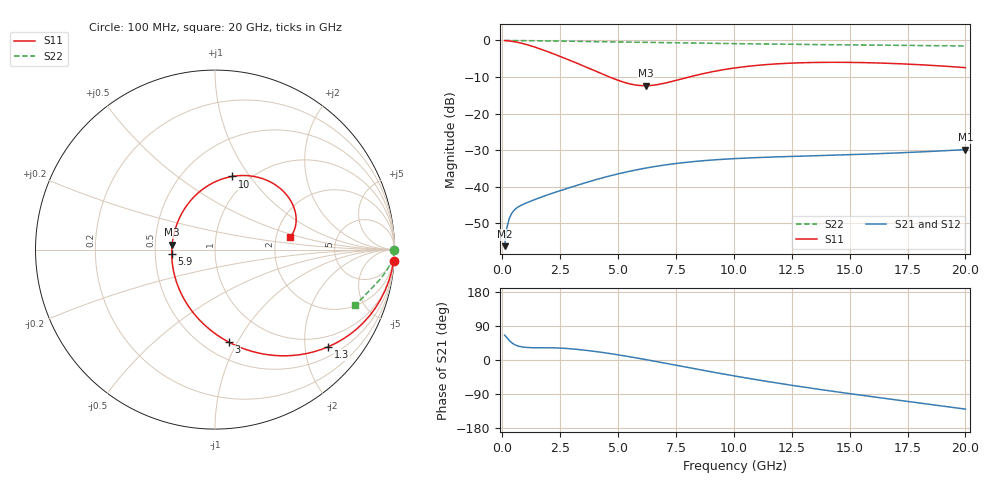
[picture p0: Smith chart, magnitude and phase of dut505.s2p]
! Touchstone file exported from HFSS 2024.1.0
!  File:  C:/UserFiles/LocalFiles/RDL_TSV_Batchsim/temp_RDL_TSV_505_1779738610.aedt
!  Generated:  04:03:06 AM May 26, 2026
!  Design:  RDL_TSV
!  Project:  temp_RDL_TSV_505_1779738610
!  Setup:  Setup1
!  Solution:  Sweep
! Variables:
!  dtsv = 14.16um
!  hbump = 3um
!  htsv = 75.4um
!  ldown = 616.36um
!  lrdl = 305.17um
!  p = 40
!  p1 = 49.35um
!  rhole = 10um
!  subl = 3069.76um
!  t = 450um
!  tdown = 3.47um
!  trdl = 3.18um
!  viad = 10um
!  wdown = 12.17um
!  wrdl = 14.82um
!  xbump = 18um
# GHz S MA R 50.000000
! Terminal data exported
! Port[1] = TM1_1_T1
! Port[2] = TM1_4_T1
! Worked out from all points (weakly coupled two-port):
!   200 points, 100 MHz to 20 GHz, reference 50 ohm
!   highest |S21| = -29.87 dB at 20 GHz (marker M1); lowest = -56.3 dB at 100 MHz (marker M2)
!   lowest |S11| = -12.4 dB at 6.2 GHz (marker M3), VSWR 1.63, Z = 30.7 + j1.75 ohm
!   |S11| at or under -10 dB: 4.632 GHz to 8.071 GHz (3.44 GHz wide, 54.2 % of centre)
!   |S22| runs from -1.5 to 0.0 dB; largest |S21 - S12| = 1.4e-14
!   S11 on the Smith chart (normalised r, x): 100 MHz: 1, -32; 1.3 GHz: 0.72, -2.53; 3 GHz: 0.65, -0.93; 5.9 GHz: 0.61, -0.03; 10 GHz: 0.84, +0.83; 20 GHz: 2.39, +0.41
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0.1  0.9972 -3.5  0.001531 65.6  0.001531 65.6  0.9997 -0.2
! Gamma 0 0 0 0
! Port Impedance 50 0 50 0
0.2  0.9916 -7.0  0.002756 59.0  0.002756 59.0  0.9993 -0.5
0.3  0.9839 -10.3  0.003649 51.6  0.003649 51.6  0.9989 -0.7
0.4  0.9745 -13.6  0.004271 45.9  0.004271 45.9  0.9985 -0.9
0.6  0.951 -20.0  0.005042 38.7  0.005042 38.7  0.9974 -1.3
0.9  0.9053 -29.2  0.005726 34.1  0.005726 34.1  0.9953 -1.9
1.3  0.8317 -40.6  0.006458 32.4  0.006458 32.4  0.9918 -2.7
2  0.6952 -58.3  0.007802 32.2  0.007802 32.2  0.9848 -3.9
3  0.5221 -81.4  0.009888 29.3  0.009888 29.3  0.9743 -5.4
3.5  0.4488 -93.2  0.01108 26.3  0.01108 26.3  0.969 -6.1
4.7  0.3099 -127.3  0.01416 16.6  0.01416 16.6  0.9563 -7.7
5.9  0.2424 -173.7  0.01722 4.4  0.01722 4.4  0.9438 -9.2
6.2  0.2402 173.6  0.01794 1.1  0.01794 1.1  0.9407 -9.5
6.8  0.2519 149.8  0.0193 -5.7  0.0193 -5.7  0.9346 -10.1
8.4  0.3355 104.3  0.02222 -24.1  0.02222 -24.1  0.9192 -11.8
10  0.4187 76.8  0.02414 -41.8  0.02414 -41.8  0.905 -13.2
10.1  0.423 75.4  0.02423 -42.9  0.02423 -42.9  0.9042 -13.3
11.8  0.477 55.7  0.02549 -60.1  0.02549 -60.1  0.8908 -14.8
13.4  0.4993 41.8  0.02641 -74.9  0.02641 -74.9  0.8795 -16.1
15  0.501 31.0  0.02735 -88.8  0.02735 -88.8  0.8693 -17.4
16.7  0.4863 21.7  0.02859 -102.8  0.02859 -102.8  0.8592 -18.8
20  0.4245 9.5  0.0321 -129.6  0.0321 -129.6  0.8409 -21.7
